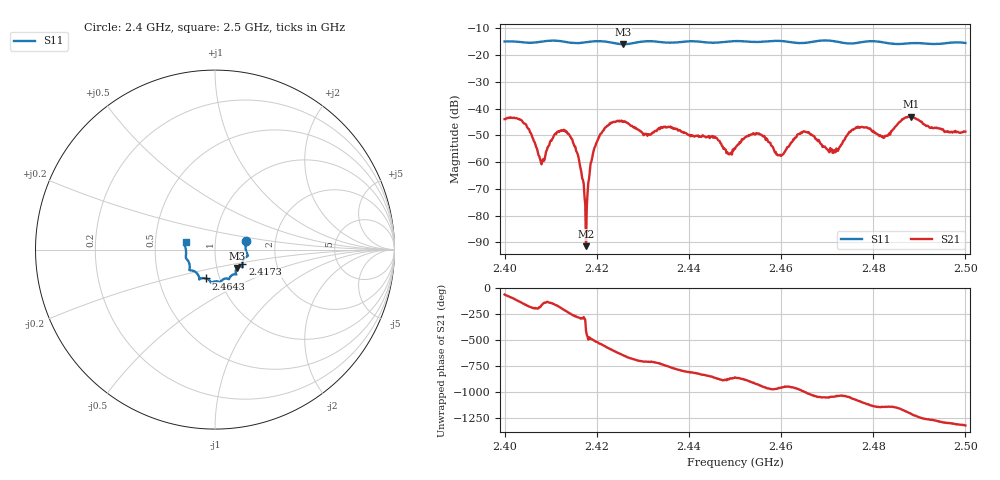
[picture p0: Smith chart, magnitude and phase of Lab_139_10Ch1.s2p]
# Hz S RI R
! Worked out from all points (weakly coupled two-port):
!   601 points, 2.4 GHz to 2.5 GHz, reference 50 ohm
!   highest |S21| = -42.93 dB at 2.4882 GHz (marker M1); lowest = -91.4 dB at 2.4177 GHz (marker M2)
!   lowest |S11| = -15.9 dB at 2.4257 GHz (marker M3), VSWR 1.38, Z = 62.5 - j13.1 ohm
!   |S11| at or under -10 dB: start of sweep to end of sweep
!   S12 and S22 are empty: the file has one direction only
!   S11 on the Smith chart (normalised r, x): 2.4 GHz: 1.41, +0.14; 2.4173 GHz: 1.34, -0.23; 2.4643 GHz: 0.86, -0.29; 2.5 GHz: 0.72, +0.06
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2.4e9  0.1732 0.0496  0.00332 -0.00544  0 0  0 0
2.404167e9  0.1715 0.0234  -0.00452 -0.00282  0 0  0 0
2.408167e9  0.1786 -0.022  -0.000933 -0.000425  0 0  0 0
2.411e9  0.1834 -0.0346  -0.00319 -0.00123  0 0  0 0
2.413333e9  0.1712 -0.0425  -0.00291 0.00226  0 0  0 0
2.416667e9  0.1529 -0.0742  0.000169 0.000623  0 0  0 0
2.417333e9  0.1522 -0.0816  7.12e-05 0.000219  0 0  0 0
2.417667e9  0.1524 -0.085  1.79e-05 -2.02e-05  0 0  0 0
2.419e9  0.1535 -0.0948  -0.000772 -0.000911  0 0  0 0
2.420333e9  0.1546 -0.0972  -0.0026 -0.000822  0 0  0 0
2.425667e9  0.123 -0.1023  0.00107 0.00554  0 0  0 0
2.433333e9  0.113 -0.137  0.00415 0.000123  0 0  0 0
2.45e9  0.0294 -0.181  -0.00127 -0.00125  0 0  0 0
2.455e9  0.00182 -0.1769  -0.00312 0.00138  0 0  0 0
2.459833e9  -0.0234 -0.1829  -0.000776 0.00113  0 0  0 0
2.464333e9  -0.0498 -0.1608  -0.00075 0.00351  0 0  0 0
2.466667e9  -0.0758 -0.1597  0.00185 0.00268  0 0  0 0
2.471667e9  -0.0875 -0.1591  0.00118 0.001  0 0  0 0
2.476333e9  -0.1199 -0.1185  0.00448 0.000619  0 0  0 0
2.483333e9  -0.1407 -0.0899  0.00182 -0.00275  0 0  0 0
2.488167e9  -0.16 -0.0499  -0.00409 -0.00585  0 0  0 0
2.5e9  -0.1638 0.0425  -0.002 0.00315  0 0  0 0
